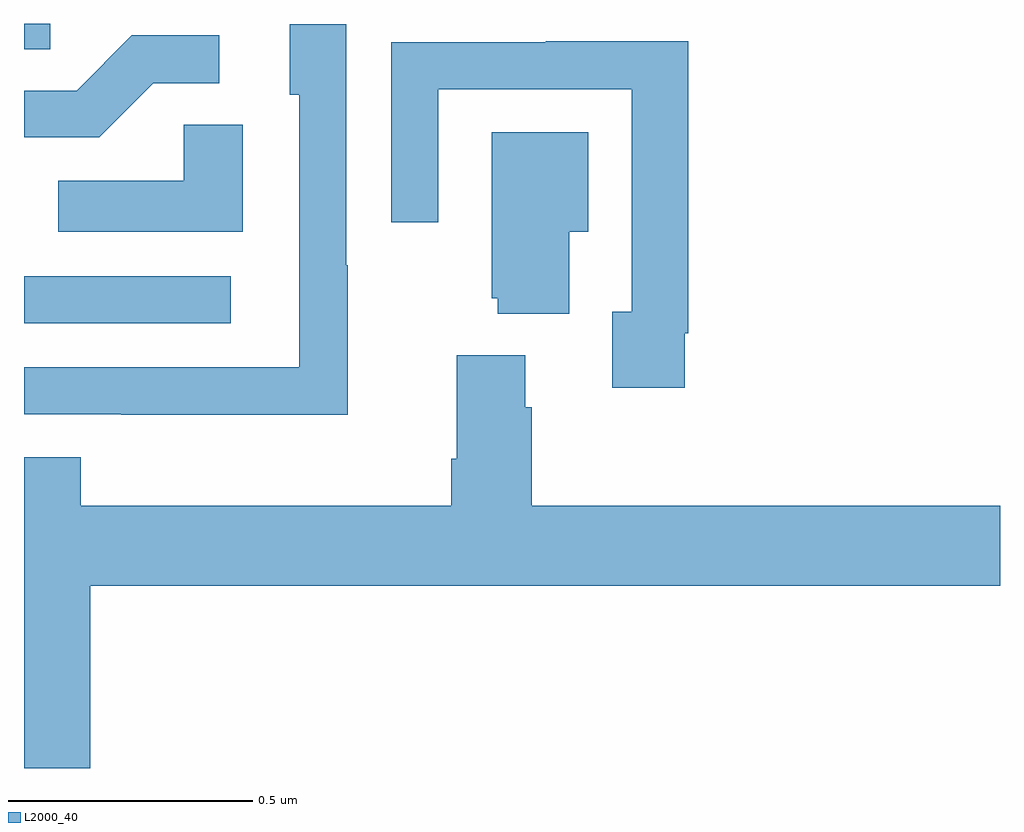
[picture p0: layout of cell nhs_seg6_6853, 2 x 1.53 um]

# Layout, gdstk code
import gdstk
lib = gdstk.Library(unit=1e-6, precision=1e-09)
def R(c, l, rs):  # rectangles x0, y0, x1, y1
    for r in rs: c.add(gdstk.rectangle(r[:2], r[2:], *l))
def P(c, l, *ps):  # polygons
    for p in ps: c.add(gdstk.Polygon(p, *l))
L2000_40 = (2000, 40)

nhs_seg6_6853 = lib.new_cell('nhs_seg6_6853')
R(nhs_seg6_6853, L2000_40, [(201,935.886,201.424,935.982), (201,936.448,201.054,936.5)])
P(nhs_seg6_6853, L2000_40, [(201.663,936.005),(201.66,936.005),(201.66,936.499),(201.545,936.499),(201.545,936.354),(201.564,936.354),(201.564,935.796),(201,935.796),(201,935.7),(201.199,935.7),(201.199,935.699),(201.663,935.699)],
  [(201.265,936.378),(201.4,936.378),(201.4,936.476),(201.221,936.476),(201.108,936.363),(201,936.363),(201,936.267),(201.154,936.267)],
  [(202.354,935.866),(202.361,935.866),(202.361,936.464),(202.069,936.464),(202.069,936.462),(201.753,936.462),(201.753,936.093),(201.849,936.093),(201.849,936.366),(202.245,936.366),(202.245,935.91),(202.205,935.91),(202.205,935.754),(202.354,935.754)],
  [(201.448,936.293),(201.327,936.293),(201.327,936.178),(201.07,936.178),(201.07,936.074),(201.448,936.074)],
  [(202.117,936.074),(202.156,936.074),(202.156,936.277),(201.959,936.277),(201.959,935.937),(201.971,935.937),(201.971,935.906),(202.117,935.906)],
  [(201.136,935.348),(203,935.348),(203,935.512),(202.04,935.512),(202.04,935.714),(202.027,935.714),(202.027,935.821),(201.887,935.821),(201.887,935.608),(201.875,935.608),(201.875,935.512),(201.116,935.512),(201.116,935.611),(201,935.611),(201,934.974),(201.136,934.974)])

lib.write_gds('nhs_seg6_6853.gds')
